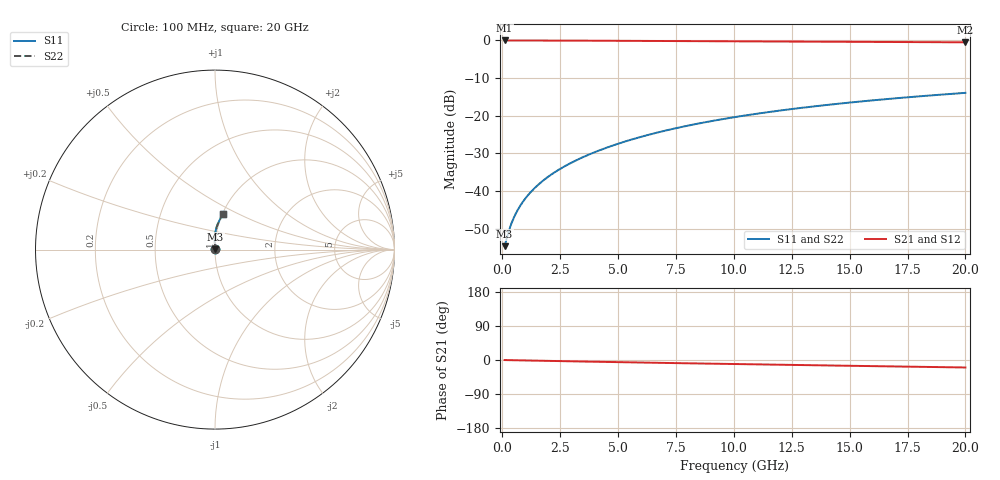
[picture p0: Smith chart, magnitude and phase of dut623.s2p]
! Touchstone file exported from HFSS 2024.1.0
!  File:  C:/UserFiles/LocalFiles/RDL_TSV_Batchsim/temp_RDL_top_623_1779780243.aedt
!  Generated:  03:26:36 PM May 26, 2026
!  Design:  RDL_top
!  Project:  temp_RDL_top_623_1779780243
!  Setup:  Setup1
!  Solution:  Sweep
! Variables:
!  dtsv = 10.80580581um
!  hbump = 3um
!  htsv = 55.53um
!  ldown = 100um
!  lrdl = 250.52um
!  p = 40
!  p1 = 54.7um
!  rhole = 1um
!  t = 450um
!  tdown = 3.915915916um
!  trdl = 2.43um
!  wdown = 15.38538539um
!  wrdl = 28.82um
# GHz S MA R 50.000000
! Terminal data exported
! Port[1] = Box2_T1
! Port[2] = Box2_T2
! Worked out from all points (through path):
!   200 points, 100 MHz to 20 GHz, reference 50 ohm
!   highest |S21| = -0.01 dB at 100 MHz (marker M1); lowest = -0.5 dB at 20 GHz (marker M2)
!   group delay of S21, straight-line fit = 2.7 ps
!   lowest |S11| = -54.6 dB at 100 MHz (marker M3), VSWR 1.00, Z = 50.2 + j0.0877 ohm
!   |S11| at or under -10 dB: start of sweep to end of sweep
!   |S22| runs from -54.6 to -13.9 dB; largest |S21 - S12| = 2.2e-15
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0.1  0.001866 28.0  0.9983 -0.1  0.9983 -0.1  0.001866 28.0
! Gamma 0 0 0 0
! Port Impedance 50 0 50 0
0.3  0.003085 55.0  0.9982 -0.4  0.9982 -0.4  0.003085 55.0
0.4  0.003773 61.1  0.998 -0.5  0.998 -0.5  0.003774 61.1
0.5  0.004469 65.4  0.9979 -0.6  0.9979 -0.6  0.004469 65.4
0.6  0.00517 68.7  0.9978 -0.7  0.9978 -0.7  0.00517 68.7
0.8  0.00659 73.5  0.9976 -1.0  0.9976 -1.0  0.00659 73.5
1  0.00804 76.9  0.9974 -1.2  0.9974 -1.2  0.00804 76.9
1.2  0.009519 79.5  0.9971 -1.4  0.9971 -1.4  0.009519 79.5
1.7  0.01333 83.9  0.9964 -2.0  0.9964 -2.0  0.01333 83.9
2.2  0.01731 86.7  0.9955 -2.6  0.9955 -2.6  0.01731 86.7
2.8  0.0223 88.9  0.9941 -3.3  0.9941 -3.3  0.0223 88.9
3.5  0.02842 90.6  0.9924 -4.1  0.9924 -4.1  0.02842 90.6
4.2  0.03487 91.6  0.9904 -4.8  0.9904 -4.8  0.03487 91.6
5  0.04259 92.2  0.9879 -5.7  0.9879 -5.7  0.0426 92.2
5.9  0.05167 92.2  0.9851 -6.6  0.9851 -6.6  0.05167 92.2
6.8  0.06105 91.9  0.9822 -7.5  0.9822 -7.5  0.06105 91.9
8.4  0.0782 90.7  0.9771 -9.1  0.9771 -9.1  0.07821 90.7
10.1  0.09675 88.9  0.9719 -10.7  0.9719 -10.7  0.09676 88.9
11.7  0.1142 87.0  0.9672 -12.2  0.9672 -12.2  0.1142 87.0
13.4  0.1327 85.0  0.9623 -13.8  0.9623 -13.8  0.1327 85.0
16.7  0.1677 81.0  0.9529 -16.8  0.9529 -16.8  0.1677 81.0
20  0.2015 77.3  0.9434 -19.8  0.9434 -19.8  0.2015 77.3
